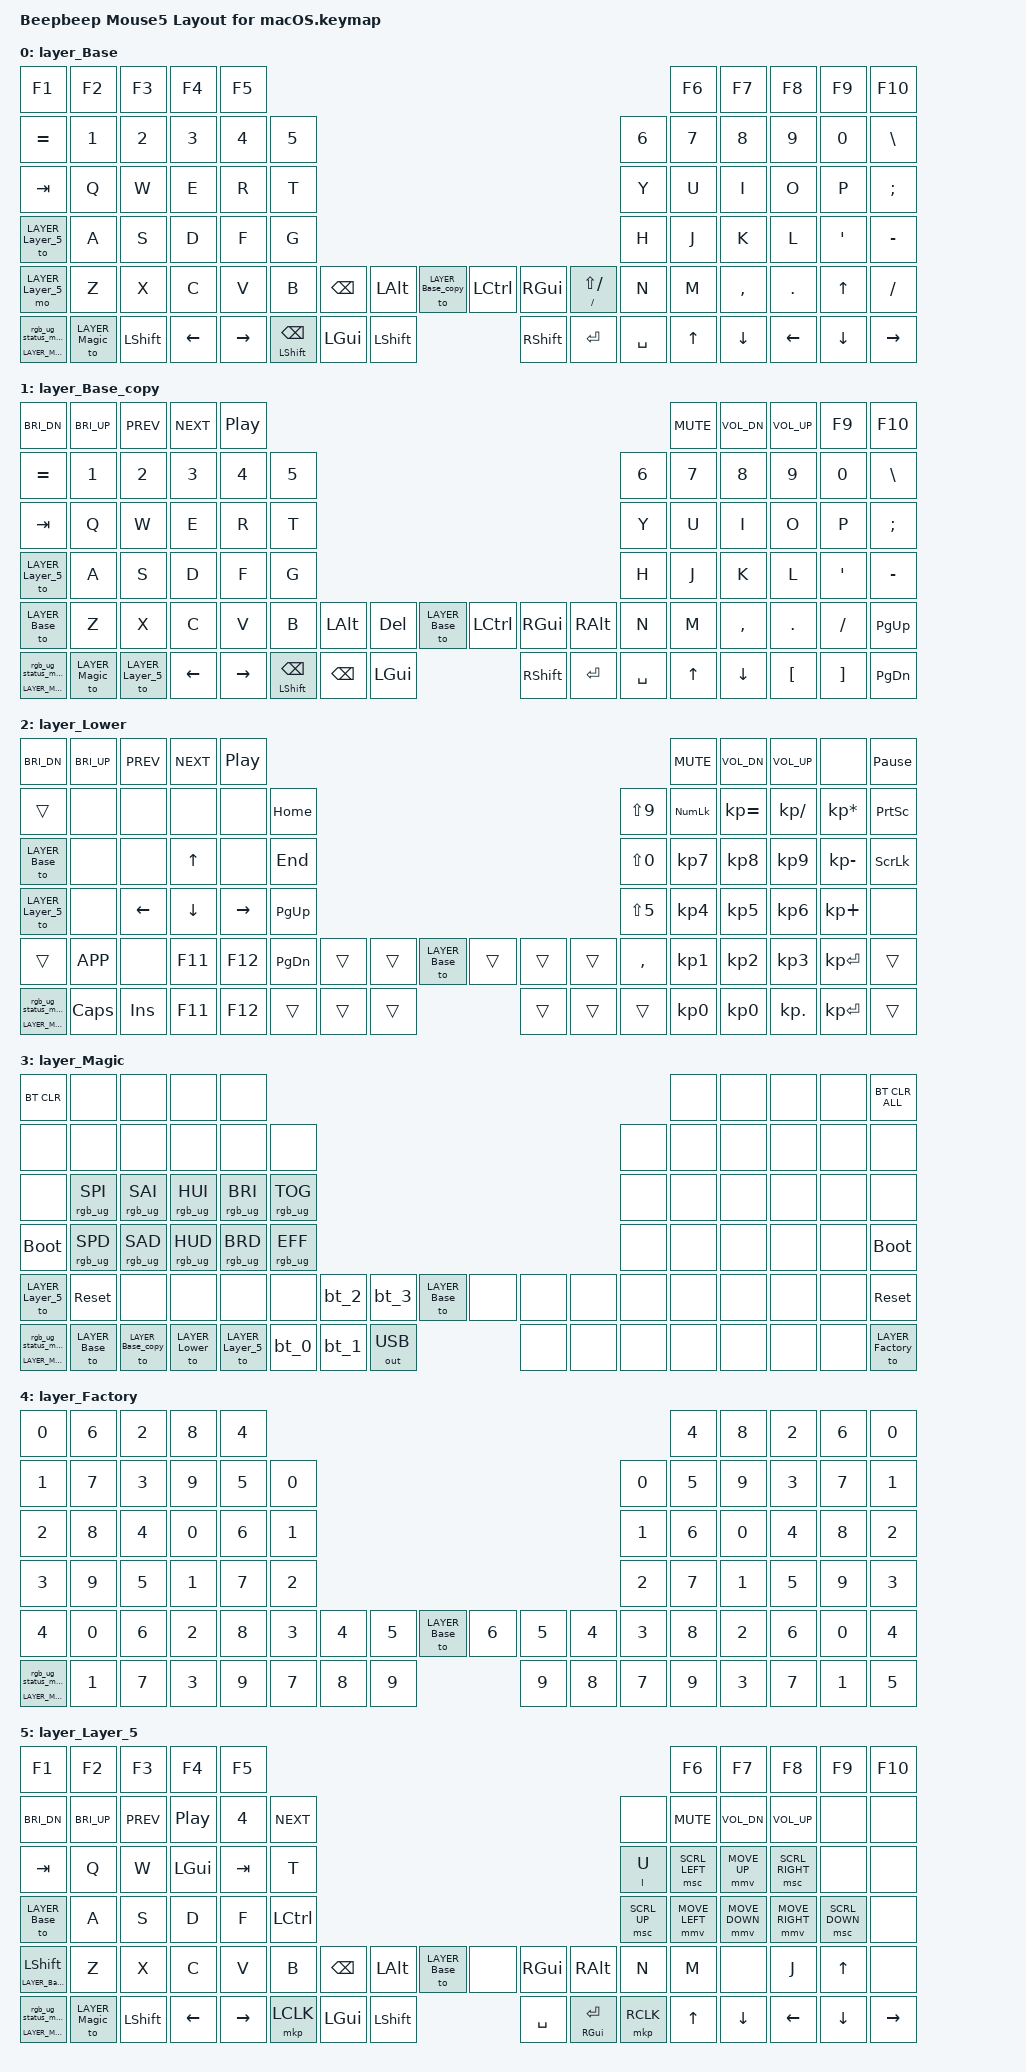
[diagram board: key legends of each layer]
/*
 * Copyright (c) 2020 The ZMK Contributors
 * Copyright (c) 2025 Innaworks Development Limited, trading as MoErgo
 *
 * SPDX-License-Identifier: MIT
 */


/* THIS FILE WAS GENERATED BY GLOVE80 LAYOUT EDITOR
 *
 * This file was generated automatically. You may or may not want to
 * edit it directly.
 */

#include <behaviors.dtsi>
/* Include all behavior includes needed */
#include <dt-bindings/zmk/outputs.h>
#include <dt-bindings/zmk/keys.h>
#include <dt-bindings/zmk/bt.h>
#include <dt-bindings/zmk/rgb.h>

/* On demand includes */
#include <dt-bindings/zmk/pointing.h>

/* Helper Macros, based on https://github.com/urob/zmk-helpers/ */

#pragma once

#define ZMK_HELPER_STRINGIFY(x) #x

// Preprocessor mechanism to overload macros, cf. https://stackoverflow.com/a/27051616/6114651
#define VARGS_(_10, _9, _8, _7, _6, _5, _4, _3, _2, _1, N, ...) N
#define VARGS(...) VARGS_(__VA_ARGS__, 10, 9, 8, 7, 6, 5, 4, 3, 2, 1, 0)
#define CONCAT_(a, b) a##b
#define CONCAT(a, b) CONCAT_(a, b)

#define ZMK_BEHAVIOR_CORE_tap_dance  \
    compatible = "zmk,behavior-tap-dance"; \
    #binding-cells = <0>

#define ZMK_BEHAVIOR(name, type, ...) \
    name: name { \
        ZMK_BEHAVIOR_CORE_ ## type; \
        __VA_ARGS__ \
    };

#define ZMK_TAP_DANCE(name, ...) \
    ZMK_BEHAVIOR(name, tap_dance, __VA_ARGS__)

#define ZMK_TD_LAYER(name, layer) \
    ZMK_TAP_DANCE(name, \
        tapping-term-ms = <200>; \
        bindings = <&mo layer>, <&to layer>; \
)

/* Environment and metadata defines */
#define KB_TYPE_GLOVE_80 1
#define KB_TYPE_GO_60    2

#define KB_TYPE          KB_TYPE_GLOVE_80
#define EDITOR_LAYOUT_OS 'M'
#define EDITOR_HOST_OS   'M'

/* Automatically generated layer name defines */
#define LAYER_Base 0
#define LAYER_Base_copy 1
#define LAYER_Lower 2
#define LAYER_Magic 3
#define LAYER_Factory 4
#define LAYER_Layer_5 5

/* To deal with the situation where there is no Lower layer, to keep &lower happy */
#ifndef LAYER_Lower
#define LAYER_Lower 0
#endif

/* Custom Device-tree */


/* Input Listeners */


/* System behavior and Macros */
/ {
    behaviors {
        ZMK_TD_LAYER(lower, LAYER_Lower)
    };
};

/ {
    macros {
        rgb_ug_status_macro: rgb_ug_status_macro {
            label = "RGB_UG_STATUS";
            compatible = "zmk,behavior-macro";
            #binding-cells = <0>;
            bindings
                = <&rgb_ug RGB_STATUS>;
        };
    };
};


/ {
#ifdef BT_DISC_CMD
    behaviors {
        bt_0: bt_0 {
            compatible = "zmk,behavior-tap-dance";
            label = "BT_0";
            #binding-cells = <0>;
            tapping-term-ms = <200>;
            bindings = <&bt_select_0>, <&bt BT_DISC 0>;
        };
        bt_1: bt_1 {
            compatible = "zmk,behavior-tap-dance";
            label = "BT_1";
            #binding-cells = <0>;
            tapping-term-ms = <200>;
            bindings = <&bt_select_1>, <&bt BT_DISC 1>;
        };
        bt_2: bt_2 {
            compatible = "zmk,behavior-tap-dance";
            label = "BT_2";
            #binding-cells = <0>;
            tapping-term-ms = <200>;
            bindings = <&bt_select_2>, <&bt BT_DISC 2>;
        };
        bt_3: bt_3 {
            compatible = "zmk,behavior-tap-dance";
            label = "BT_3";
            #binding-cells = <0>;
            tapping-term-ms = <200>;
            bindings = <&bt_select_3>, <&bt BT_DISC 3>;
        };
    };
    macros {
        bt_select_0: bt_select_0 {
            label = "BT_SELECT_0";
            compatible = "zmk,behavior-macro";
            #binding-cells = <0>;
            bindings
                = <&out OUT_BLE>,
                  <&bt BT_SEL 0>;
        };
        bt_select_1: bt_select_1 {
            label = "BT_SELECT_1";
            compatible = "zmk,behavior-macro";
            #binding-cells = <0>;
            bindings
                = <&out OUT_BLE>,
                  <&bt BT_SEL 1>;
        };
        bt_select_2: bt_select_2 {
            label = "BT_SELECT_2";
            compatible = "zmk,behavior-macro";
            #binding-cells = <0>;
            bindings
                = <&out OUT_BLE>,
                  <&bt BT_SEL 2>;
        };
        bt_select_3: bt_select_3 {
            label = "BT_SELECT_3";
            compatible = "zmk,behavior-macro";
            #binding-cells = <0>;
            bindings
                = <&out OUT_BLE>,
                  <&bt BT_SEL 3>;
        };
    };
#else
    macros {
        bt_0: bt_0 {
            label = "BT_0";
            compatible = "zmk,behavior-macro";
            #binding-cells = <0>;
            bindings
                = <&out OUT_BLE>,
                  <&bt BT_SEL 0>;
        };
        bt_1: bt_1 {
            label = "BT_1";
            compatible = "zmk,behavior-macro";
            #binding-cells = <0>;
            bindings
                = <&out OUT_BLE>,
                  <&bt BT_SEL 1>;
        };
        bt_2: bt_2 {
            label = "BT_2";
            compatible = "zmk,behavior-macro";
            #binding-cells = <0>;
            bindings
                = <&out OUT_BLE>,
                  <&bt BT_SEL 2>;
        };
        bt_3: bt_3 {
            label = "BT_3";
            compatible = "zmk,behavior-macro";
            #binding-cells = <0>;
            bindings
                = <&out OUT_BLE>,
                  <&bt BT_SEL 3>;
        };
    };
#endif
};

/ {
    behaviors {
        magic: magic {
            compatible = "zmk,behavior-hold-tap";
            label = "MAGIC_HOLD_TAP";
            #binding-cells = <2>;
            flavor = "tap-preferred";
            tapping-term-ms = <200>;
            bindings = <&mo>, <&rgb_ug_status_macro>;
        };
    };
};


/* Key positions */

#define POS_LH_C6R1 0
#define POS_LH_C5R1 1
#define POS_LH_C4R1 2
#define POS_LH_C3R1 3
#define POS_LH_C2R1 4
#define POS_RH_C2R1 5
#define POS_RH_C3R1 6
#define POS_RH_C4R1 7
#define POS_RH_C5R1 8
#define POS_RH_C6R1 9
#define POS_LH_C6R2 10
#define POS_LH_C5R2 11
#define POS_LH_C4R2 12
#define POS_LH_C3R2 13
#define POS_LH_C2R2 14
#define POS_LH_C1R2 15
#define POS_RH_C1R2 16
#define POS_RH_C2R2 17
#define POS_RH_C3R2 18
#define POS_RH_C4R2 19
#define POS_RH_C5R2 20
#define POS_RH_C6R2 21
#define POS_LH_C6R3 22
#define POS_LH_C5R3 23
#define POS_LH_C4R3 24
#define POS_LH_C3R3 25
#define POS_LH_C2R3 26
#define POS_LH_C1R3 27
#define POS_RH_C1R3 28
#define POS_RH_C2R3 29
#define POS_RH_C3R3 30
#define POS_RH_C4R3 31
#define POS_RH_C5R3 32
#define POS_RH_C6R3 33
#define POS_LH_C6R4 34
#define POS_LH_C5R4 35
#define POS_LH_C4R4 36
#define POS_LH_C3R4 37
#define POS_LH_C2R4 38
#define POS_LH_C1R4 39
#define POS_RH_C1R4 40
#define POS_RH_C2R4 41
#define POS_RH_C3R4 42
#define POS_RH_C4R4 43
#define POS_RH_C5R4 44
#define POS_RH_C6R4 45
#define POS_LH_C6R5 46
#define POS_LH_C5R5 47
#define POS_LH_C4R5 48
#define POS_LH_C3R5 49
#define POS_LH_C2R5 50
#define POS_LH_C1R5 51
#define POS_LH_T1 52
#define POS_LH_T2 53
#define POS_LH_T3 54
#define POS_RH_T3 55
#define POS_RH_T2 56
#define POS_RH_T1 57
#define POS_RH_C1R5 58
#define POS_RH_C2R5 59
#define POS_RH_C3R5 60
#define POS_RH_C4R5 61
#define POS_RH_C5R5 62
#define POS_RH_C6R5 63
#define POS_LH_C6R6 64
#define POS_LH_C5R6 65
#define POS_LH_C4R6 66
#define POS_LH_C3R6 67
#define POS_LH_C2R6 68
#define POS_LH_T4 69
#define POS_LH_T5 70
#define POS_LH_T6 71
#define POS_RH_T6 72
#define POS_RH_T5 73
#define POS_RH_T4 74
#define POS_RH_C2R6 75
#define POS_RH_C3R6 76
#define POS_RH_C4R6 77
#define POS_RH_C5R6 78
#define POS_RH_C6R6 79


/* Custom Defined Behaviors */
/ {

};

/* Generated input processors */


/* Automatically generated macro definitions */
/ {
    macros {

        CmdTab: CmdTab {
            label = "&CMDTAB";
            compatible = "zmk,behavior-macro";
            #binding-cells = <0>;
            bindings = <&kp LGUI>
                , <&kp TAB>;
        };
    };
};

/* Automatically generated behavior definitions */
/ {
    behaviors {


    };
};

/* Automatically generated combos definitions */


/* Automatically generated keymap */
/ {
    keymap {
        compatible = "zmk,keymap";


        layer_Base {
            bindings = <
               &kp F1           &kp F2     &kp F3    &kp F4     &kp F5                                                                                                         &kp F6     &kp F7    &kp F8    &kp F9    &kp F10
            &kp EQUAL           &kp N1     &kp N2    &kp N3     &kp N4  &kp N5                                                                                         &kp N6  &kp N7     &kp N8    &kp N9    &kp N0   &kp BSLH
              &kp TAB            &kp Q      &kp W     &kp E      &kp R   &kp T                                                                                          &kp Y   &kp U      &kp I     &kp O     &kp P   &kp SEMI
    &to LAYER_Layer_5            &kp A      &kp S     &kp D      &kp F   &kp G                                                                                          &kp H   &kp J      &kp K     &kp L   &kp SQT  &kp MINUS
    &mo LAYER_Layer_5            &kp Z      &kp X     &kp C      &kp V   &kp B        &kp BSPC  &kp LALT  &to LAYER_Base_copy  &kp LCTRL  &kp RGUI  &mt FSLH LS(FSLH)   &kp N   &kp M  &kp COMMA   &kp DOT    &kp UP   &kp FSLH
 &magic LAYER_Magic 0  &to LAYER_Magic  &kp LSHFT  &kp LEFT  &kp RIGHT          &mt LSHFT BSPC  &kp LGUI            &kp LSHFT  &kp RSHFT   &kp RET          &kp SPACE          &kp UP   &kp DOWN  &kp LEFT  &kp DOWN  &kp RIGHT
            >;
        };

        layer_Base_copy {
            bindings = <
         &kp C_BRI_DN     &kp C_BRI_UP         &kp C_PREV  &kp C_NEXT   &kp C_PP                                                                                            &kp C_MUTE  &kp C_VOL_DN  &kp C_VOL_UP    &kp F9    &kp F10
            &kp EQUAL           &kp N1             &kp N2      &kp N3     &kp N4  &kp N5                                                                            &kp N6      &kp N7        &kp N8        &kp N9    &kp N0   &kp BSLH
              &kp TAB            &kp Q              &kp W       &kp E      &kp R   &kp T                                                                             &kp Y       &kp U         &kp I         &kp O     &kp P   &kp SEMI
    &to LAYER_Layer_5            &kp A              &kp S       &kp D      &kp F   &kp G                                                                             &kp H       &kp J         &kp K         &kp L   &kp SQT  &kp MINUS
       &to LAYER_Base            &kp Z              &kp X       &kp C      &kp V   &kp B        &kp LALT   &kp DEL  &to LAYER_Base  &kp LCTRL  &kp RGUI   &kp RALT   &kp N       &kp M     &kp COMMA       &kp DOT  &kp FSLH  &kp PG_UP
 &magic LAYER_Magic 0  &to LAYER_Magic  &to LAYER_Layer_5    &kp LEFT  &kp RIGHT          &mt LSHFT BSPC  &kp BSPC        &kp LGUI  &kp RSHFT   &kp RET  &kp SPACE              &kp UP      &kp DOWN      &kp LBKT  &kp RBKT  &kp PG_DN
            >;
        };

        layer_Lower {
            bindings = <
         &kp C_BRI_DN  &kp C_BRI_UP      &kp C_PREV      &kp C_NEXT         &kp C_PP                                                                                 &kp C_MUTE  &kp C_VOL_DN  &kp C_VOL_UP            &none  &kp PAUSE_BREAK
               &trans         &none           &none           &none            &none   &kp HOME                                                          &kp LS(N9)  &kp KP_NUM  &kp KP_EQUAL  &kp KP_SLASH  &kp KP_MULTIPLY  &kp PRINTSCREEN
       &to LAYER_Base         &none           &none    &kp UP_ARROW            &none    &kp END                                                          &kp LS(N0)   &kp KP_N7     &kp KP_N8     &kp KP_N9     &kp KP_MINUS   &kp SCROLLLOCK
    &to LAYER_Layer_5         &none  &kp LEFT_ARROW  &kp DOWN_ARROW  &kp RIGHT_ARROW  &kp PG_UP                                                          &kp LS(N5)   &kp KP_N4     &kp KP_N5     &kp KP_N6      &kp KP_PLUS            &none
               &trans     &kp K_APP           &none         &kp F11          &kp F12  &kp PG_DN  &trans  &trans  &to LAYER_Base  &trans  &trans  &trans   &kp COMMA   &kp KP_N1     &kp KP_N2     &kp KP_N3     &kp KP_ENTER           &trans
 &magic LAYER_Magic 0      &kp CAPS         &kp INS         &kp F11          &kp F12             &trans  &trans          &trans  &trans  &trans  &trans               &kp KP_N0     &kp KP_N0    &kp KP_DOT     &kp KP_ENTER           &trans
            >;
        };

        layer_Magic {
            bindings = <
           &bt BT_CLR            &none                &none            &none              &none                                                                                    &none   &none   &none   &none     &bt BT_CLR_ALL
                &none            &none                &none            &none              &none            &none                                                           &none   &none   &none   &none   &none              &none
                &none  &rgb_ug RGB_SPI      &rgb_ug RGB_SAI  &rgb_ug RGB_HUI    &rgb_ug RGB_BRI  &rgb_ug RGB_TOG                                                           &none   &none   &none   &none   &none              &none
          &bootloader  &rgb_ug RGB_SPD      &rgb_ug RGB_SAD  &rgb_ug RGB_HUD    &rgb_ug RGB_BRD  &rgb_ug RGB_EFF                                                           &none   &none   &none   &none   &none        &bootloader
    &to LAYER_Layer_5       &sys_reset                &none            &none              &none            &none   &bt_2   &bt_3  &to LAYER_Base   &none   &none   &none   &none   &none   &none   &none   &none         &sys_reset
 &magic LAYER_Magic 0   &to LAYER_Base  &to LAYER_Base_copy  &to LAYER_Lower  &to LAYER_Layer_5                    &bt_0   &bt_1    &out OUT_USB   &none   &none   &none           &none   &none   &none   &none  &to LAYER_Factory
            >;
        };

        layer_Factory {
            bindings = <
         &kp NUMBER_0  &kp NUMBER_6  &kp NUMBER_2  &kp NUMBER_8  &kp NUMBER_4                                                                                                                    &kp NUMBER_4  &kp NUMBER_8  &kp NUMBER_2  &kp NUMBER_6  &kp NUMBER_0
         &kp NUMBER_1  &kp NUMBER_7  &kp NUMBER_3  &kp NUMBER_9  &kp NUMBER_5  &kp NUMBER_0                                                                                        &kp NUMBER_0  &kp NUMBER_5  &kp NUMBER_9  &kp NUMBER_3  &kp NUMBER_7  &kp NUMBER_1
         &kp NUMBER_2  &kp NUMBER_8  &kp NUMBER_4  &kp NUMBER_0  &kp NUMBER_6  &kp NUMBER_1                                                                                        &kp NUMBER_1  &kp NUMBER_6  &kp NUMBER_0  &kp NUMBER_4  &kp NUMBER_8  &kp NUMBER_2
         &kp NUMBER_3  &kp NUMBER_9  &kp NUMBER_5  &kp NUMBER_1  &kp NUMBER_7  &kp NUMBER_2                                                                                        &kp NUMBER_2  &kp NUMBER_7  &kp NUMBER_1  &kp NUMBER_5  &kp NUMBER_9  &kp NUMBER_3
         &kp NUMBER_4  &kp NUMBER_0  &kp NUMBER_6  &kp NUMBER_2  &kp NUMBER_8  &kp NUMBER_3  &kp NUMBER_4  &kp NUMBER_5  &to LAYER_Base  &kp NUMBER_6  &kp NUMBER_5  &kp NUMBER_4  &kp NUMBER_3  &kp NUMBER_8  &kp NUMBER_2  &kp NUMBER_6  &kp NUMBER_0  &kp NUMBER_4
 &magic LAYER_Magic 0  &kp NUMBER_1  &kp NUMBER_7  &kp NUMBER_3  &kp NUMBER_9                &kp NUMBER_7  &kp NUMBER_8    &kp NUMBER_9  &kp NUMBER_9  &kp NUMBER_8  &kp NUMBER_7                &kp NUMBER_9  &kp NUMBER_3  &kp NUMBER_7  &kp NUMBER_1  &kp NUMBER_5
            >;
        };

        layer_Layer_5 {
            bindings = <
               &kp F1           &kp F2      &kp F3    &kp F4     &kp F5                                                                                                             &kp F6          &kp F7           &kp F8          &kp F9    &kp F10
         &kp C_BRI_DN     &kp C_BRI_UP  &kp C_PREV  &kp C_PP     &kp N4  &kp C_NEXT                                                                                  &none      &kp C_MUTE    &kp C_VOL_DN     &kp C_VOL_UP           &none      &none
              &kp TAB            &kp Q       &kp W  &kp LGUI    &kp TAB       &kp T                                                                                &mt I U  &msc SCRL_LEFT    &mmv MOVE_UP  &msc SCRL_RIGHT           &none      &none
       &to LAYER_Base            &kp A       &kp S     &kp D      &kp F   &kp LCTRL                                                                           &msc SCRL_UP  &mmv MOVE_LEFT  &mmv MOVE_DOWN  &mmv MOVE_RIGHT  &msc SCRL_DOWN      &none
 &lt LAYER_Base LSHFT            &kp Z       &kp X     &kp C      &kp V       &kp B   &kp BSPC  &kp LALT  &to LAYER_Base      &none      &kp RGUI   &kp RALT         &kp N           &kp M           &none            &kp J          &kp UP      &none
 &magic LAYER_Magic 0  &to LAYER_Magic   &kp LSHFT  &kp LEFT  &kp RIGHT              &mkp LCLK  &kp LGUI       &kp LSHFT  &kp SPACE  &mt RGUI RET  &mkp RCLK                        &kp UP        &kp DOWN         &kp LEFT        &kp DOWN  &kp RIGHT
            >;
        };

    };
};
